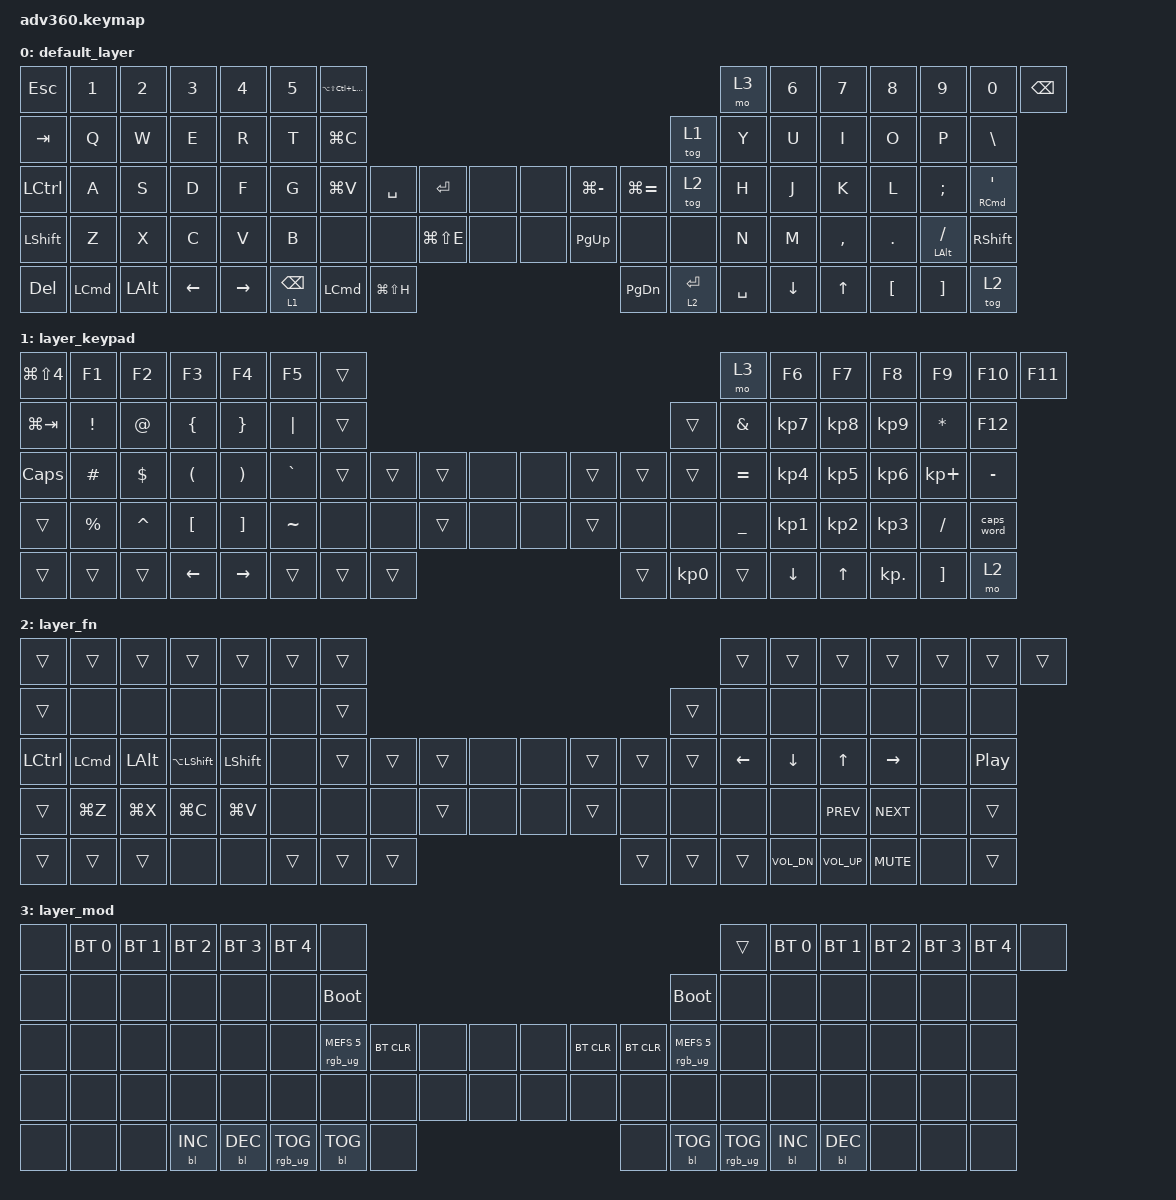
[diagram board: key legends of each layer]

/*
 * Copyright (c) 2020 The ZMK Contributors
 *
 * SPDX-License-Identifier: MIT
 */


/* THIS FILE WAS GENERATED!
 *
 * This file was generated automatically. You may or may not want to
 * edit it directly.
 */

#include <behaviors.dtsi>
#include <dt-bindings/zmk/keys.h>
#include <dt-bindings/zmk/bt.h>
#include <dt-bindings/zmk/rgb.h>
#include <dt-bindings/zmk/backlight.h>

/ {
  behaviors {
    #include "macros.dtsi"

    hm: homerow_mods {
        compatible = "zmk,behavior-hold-tap";
        label = "HOMEROW_MODS";
        #binding-cells = <2>;
        tapping-term-ms = <150>;
        quick_tap_ms = <175>;
        flavor = "tap-preferred";
        bindings = <&kp>, <&kp>;
    };
  };

    keymap {
        compatible = "zmk,keymap";


        default_layer {
            bindings = <
 &kp ESCAPE    &kp N1    &kp N2    &kp N3     &kp N4  &kp N5            &kp LA(LS(LC(LCMD)))                                                                              &mo 3  &kp N6    &kp N7     &kp N8    &kp N9    &kp N0    &kp BSPC
    &kp TAB     &kp Q     &kp W     &kp E      &kp R   &kp T                       &kp LG(C)                                                                             &tog 1   &kp Y     &kp U      &kp I     &kp O     &kp P    &kp BSLH
  &kp LCTRL     &kp A     &kp S     &kp D      &kp F   &kp G                       &kp LG(V)  &kp SPACE      &kp ENTER   &none   &none  &kp LG(MINUS)  &kp LG(EQUAL)     &tog 2   &kp H     &kp J      &kp K     &kp L  &kp SEMI     &hm RCMD SQT
 &kp LSHIFT     &kp Z     &kp X     &kp C      &kp V   &kp B                           &none      &none  &kp LG(LS(E))   &none   &none      &kp PG_UP          &none      &none   &kp N     &kp M  &kp COMMA   &kp DOT  &hm LALT FSLH  &kp RSHIFT
 &kp DELETE  &kp LCMD  &kp LALT  &kp LEFT  &kp RIGHT                         &lt 1 BACKSPACE   &kp LCMD  &kp LG(LS(H))                      &kp PG_DN    &lt 2 ENTER  &kp SPACE          &kp DOWN     &kp UP  &kp LBKT  &kp RBKT      &tog 2
            >;
        };

        layer_keypad {
            bindings = <
 &kp LG(LS(NUMBER_4))           &kp F1      &kp F2    &kp F3     &kp F4     &kp F5            &trans                                                      &mo 3          &kp F6     &kp F7     &kp F8      &kp F9       &kp F10     &kp F11
              &kp LG(TAB)  &kp EXCLAMATION      &kp AT  &kp LBRC   &kp RBRC   &kp PIPE            &trans                                                     &trans   &kp AMPERSAND  &kp KP_N7  &kp KP_N8   &kp KP_N9  &kp ASTERISK     &kp F12
             &kp CAPS         &kp HASH  &kp DOLLAR  &kp LPAR   &kp RPAR  &kp GRAVE            &trans  &trans  &trans   &none   &none  &trans  &trans     &trans       &kp EQUAL  &kp KP_N4  &kp KP_N5   &kp KP_N6   &kp KP_PLUS   &kp MINUS
            &trans      &kp PERCENT   &kp CARET  &kp LBKT   &kp RBKT  &kp TILDE             &none   &none  &trans   &none   &none  &trans   &none      &none  &kp UNDERSCORE  &kp KP_N1  &kp KP_N2   &kp KP_N3     &kp SLASH  &caps_word
                &trans           &trans      &trans  &kp LEFT  &kp RIGHT                       &trans  &trans  &trans                  &trans  &kp KP_N0  &trans                   &kp DOWN     &kp UP  &kp KP_DOT      &kp RBKT       &mo 2
            >;
        };

        layer_fn {
            bindings = <
    &trans     &trans        &trans          &trans     &trans  &trans            &trans                                                  &trans    &trans        &trans        &trans      &trans  &trans    &trans
    &trans      &none         &none           &none      &none   &none            &trans                                                  &trans     &none         &none         &none       &none   &none     &none
 &kp LCTRL   &kp LCMD  &kp LEFT_ALT  &kp LA(LSHIFT)  &kp LSHFT   &none            &trans  &trans  &trans   &none   &none  &trans  &trans  &trans  &kp LEFT      &kp DOWN        &kp UP   &kp RIGHT   &none  &kp C_PP
    &trans  &kp LG(Z)     &kp LG(X)       &kp LG(C)  &kp LG(V)   &none             &none   &none  &trans   &none   &none  &trans   &none   &none     &none         &none    &kp C_PREV  &kp C_NEXT   &none    &trans
    &trans     &trans        &trans           &none      &none                    &trans  &trans  &trans                  &trans  &trans  &trans            &kp C_VOL_DN  &kp C_VOL_UP  &kp C_MUTE   &none    &trans
            >;
        };

        layer_mod {
            bindings = <
  &none  &bt BT_SEL 0  &bt BT_SEL 1  &bt BT_SEL 2  &bt BT_SEL 3  &bt BT_SEL 4                             &none                                                                              &trans  &bt BT_SEL 0  &bt BT_SEL 1  &bt BT_SEL 2  &bt BT_SEL 3  &bt BT_SEL 4   &none
  &none         &none         &none         &none         &none         &none                       &bootloader                                                                         &bootloader         &none         &none         &none         &none         &none   &none
  &none         &none         &none         &none         &none         &none            &rgb_ug RGB_MEFS_CMD 5  &bt BT_CLR   &none   &none   &none  &bt BT_CLR  &bt BT_CLR  &rgb_ug RGB_MEFS_CMD 5         &none         &none         &none         &none         &none   &none
  &none         &none         &none         &none         &none         &none                             &none       &none   &none   &none   &none       &none       &none                   &none         &none         &none         &none         &none         &none   &none
  &none         &none         &none    &bl BL_INC    &bl BL_DEC                                 &rgb_ug RGB_TOG  &bl BL_TOG   &none                       &none  &bl BL_TOG         &rgb_ug RGB_TOG                  &bl BL_INC    &bl BL_DEC         &none         &none   &none
            >;
        };

    };
};
